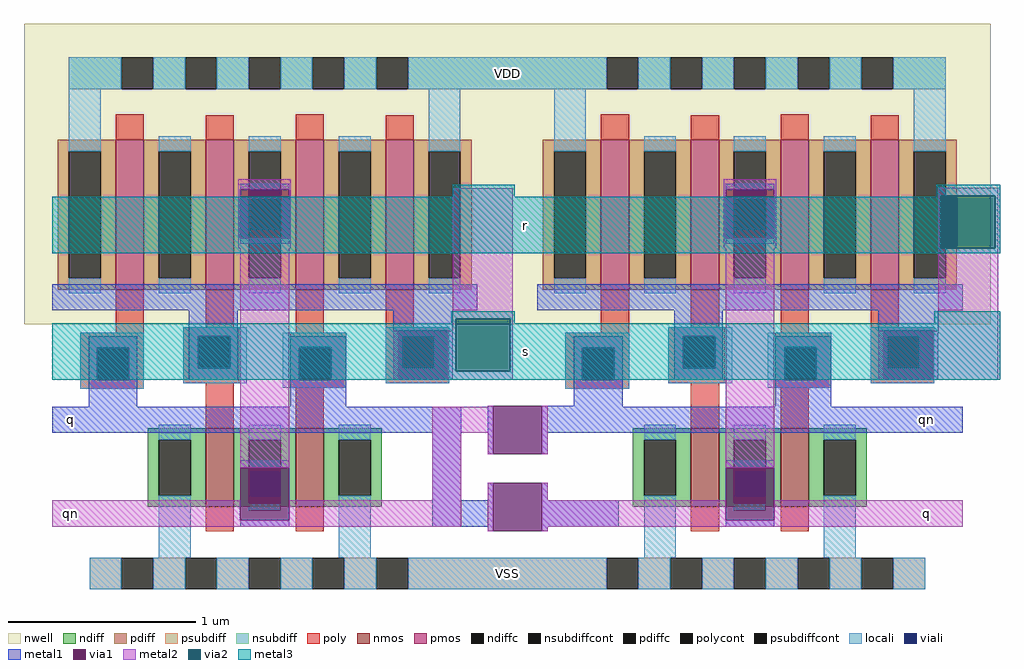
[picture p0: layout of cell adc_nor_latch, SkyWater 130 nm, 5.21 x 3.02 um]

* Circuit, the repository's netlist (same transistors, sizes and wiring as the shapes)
** sch_path: /foss/designs/SKY130_SAR-ADC/xschem/adc_nor_latch.sch
.subckt adc_nor_latch VDD VSS s r q qn
*.PININFO VDD:B VSS:B s:I r:I q:O qn:O
x1 q s VDD qn VSS adc_nor
x2 qn r VDD q VSS adc_nor
.ends

* expanding   symbol:  adc_nor.sym # of pins=5
** sym_path: /foss/designs/SKY130_SAR-ADC/xschem/adc_nor.sym
** sch_path: /foss/designs/SKY130_SAR-ADC/xschem/adc_nor.sch
.subckt adc_nor b a VDD q VSS
*.PININFO VDD:B VSS:B b:I a:I q:O
XM5 q b VSS VSS sky130_fd_pr__nfet_01v8 L=0.15 W=0.42 nf=1 ad='int((nf+1)/2) * W/nf * 0.29' as='int((nf+2)/2) * W/nf * 0.29'
+ pd='2*int((nf+1)/2) * (W/nf + 0.29)' ps='2*int((nf+2)/2) * (W/nf + 0.29)' nrd='0.29 / W' nrs='0.29 / W'
+ sa=0 sb=0 sd=0 mult=1 m=1
XM6 q a VSS VSS sky130_fd_pr__nfet_01v8 L=0.15 W=0.42 nf=1 ad='int((nf+1)/2) * W/nf * 0.29' as='int((nf+2)/2) * W/nf * 0.29'
+ pd='2*int((nf+1)/2) * (W/nf + 0.29)' ps='2*int((nf+2)/2) * (W/nf + 0.29)' nrd='0.29 / W' nrs='0.29 / W'
+ sa=0 sb=0 sd=0 mult=1 m=1
XM1 q b net1 VDD sky130_fd_pr__pfet_01v8 L=0.15 W=0.8 nf=1 ad='int((nf+1)/2) * W/nf * 0.29' as='int((nf+2)/2) * W/nf * 0.29'
+ pd='2*int((nf+1)/2) * (W/nf + 0.29)' ps='2*int((nf+2)/2) * (W/nf + 0.29)' nrd='0.29 / W' nrs='0.29 / W'
+ sa=0 sb=0 sd=0 mult=1 m=1
XM2 q a net2 VDD sky130_fd_pr__pfet_01v8 L=0.15 W=0.8 nf=1 ad='int((nf+1)/2) * W/nf * 0.29' as='int((nf+2)/2) * W/nf * 0.29'
+ pd='2*int((nf+1)/2) * (W/nf + 0.29)' ps='2*int((nf+2)/2) * (W/nf + 0.29)' nrd='0.29 / W' nrs='0.29 / W'
+ sa=0 sb=0 sd=0 mult=1 m=1
XM3 net2 b VDD VDD sky130_fd_pr__pfet_01v8 L=0.15 W=0.8 nf=1 ad='int((nf+1)/2) * W/nf * 0.29' as='int((nf+2)/2) * W/nf * 0.29'
+ pd='2*int((nf+1)/2) * (W/nf + 0.29)' ps='2*int((nf+2)/2) * (W/nf + 0.29)' nrd='0.29 / W' nrs='0.29 / W'
+ sa=0 sb=0 sd=0 mult=1 m=1
XM4 net1 a VDD VDD sky130_fd_pr__pfet_01v8 L=0.15 W=0.8 nf=1 ad='int((nf+1)/2) * W/nf * 0.29' as='int((nf+2)/2) * W/nf * 0.29'
+ pd='2*int((nf+1)/2) * (W/nf + 0.29)' ps='2*int((nf+2)/2) * (W/nf + 0.29)' nrd='0.29 / W' nrs='0.29 / W'
+ sa=0 sb=0 sd=0 mult=1 m=1
.ends

.end

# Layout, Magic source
magic
tech sky130A
magscale 1 2
<< nwell >>
rect 160 493 1192 814
<< nmos >>
rect 354 298 384 382
rect 450 298 480 382
rect 872 298 902 382
rect 968 298 998 382
<< pmos >>
rect 258 530 288 690
rect 354 530 384 690
rect 450 530 480 690
rect 546 530 576 690
rect 776 530 806 690
rect 872 530 902 690
rect 968 530 998 690
rect 1064 530 1094 690
<< ndiff >>
rect 292 370 354 382
rect 292 310 304 370
rect 338 310 354 370
rect 292 298 354 310
rect 384 370 450 382
rect 384 310 400 370
rect 434 310 450 370
rect 384 298 450 310
rect 480 370 542 382
rect 480 310 496 370
rect 530 310 542 370
rect 480 298 542 310
rect 810 370 872 382
rect 810 310 822 370
rect 856 310 872 370
rect 810 298 872 310
rect 902 370 968 382
rect 902 310 918 370
rect 952 310 968 370
rect 902 298 968 310
rect 998 370 1060 382
rect 998 310 1014 370
rect 1048 310 1060 370
rect 998 298 1060 310
<< pdiff >>
rect 196 678 258 690
rect 196 542 208 678
rect 242 542 258 678
rect 196 530 258 542
rect 288 678 354 690
rect 288 542 304 678
rect 338 542 354 678
rect 288 530 354 542
rect 384 678 450 690
rect 384 542 400 678
rect 434 542 450 678
rect 384 530 450 542
rect 480 678 546 690
rect 480 542 496 678
rect 530 542 546 678
rect 480 530 546 542
rect 576 678 638 690
rect 576 542 592 678
rect 626 542 638 678
rect 576 530 638 542
rect 714 678 776 690
rect 714 542 726 678
rect 760 542 776 678
rect 714 530 776 542
rect 806 678 872 690
rect 806 542 822 678
rect 856 542 872 678
rect 806 530 872 542
rect 902 678 968 690
rect 902 542 918 678
rect 952 542 968 678
rect 902 530 968 542
rect 998 678 1064 690
rect 998 542 1014 678
rect 1048 542 1064 678
rect 998 530 1064 542
rect 1094 678 1156 690
rect 1094 542 1110 678
rect 1144 542 1156 678
rect 1094 530 1156 542
<< ndiffc >>
rect 304 310 338 370
rect 400 310 434 370
rect 496 310 530 370
rect 822 310 856 370
rect 918 310 952 370
rect 1014 310 1048 370
<< pdiffc >>
rect 208 542 242 678
rect 304 542 338 678
rect 400 542 434 678
rect 496 542 530 678
rect 592 542 626 678
rect 726 542 760 678
rect 822 542 856 678
rect 918 542 952 678
rect 1014 542 1048 678
rect 1110 542 1144 678
<< psubdiff >>
rect 230 210 264 244
rect 298 210 332 244
rect 366 210 400 244
rect 434 210 468 244
rect 502 210 536 244
rect 570 210 782 244
rect 816 210 850 244
rect 884 210 918 244
rect 952 210 986 244
rect 1020 210 1054 244
rect 1088 210 1122 244
<< nsubdiff >>
rect 208 744 264 778
rect 298 744 332 778
rect 366 744 400 778
rect 434 744 468 778
rect 502 744 536 778
rect 570 744 782 778
rect 816 744 850 778
rect 884 744 918 778
rect 952 744 986 778
rect 1020 744 1054 778
rect 1088 744 1144 778
<< psubdiffcont >>
rect 264 210 298 244
rect 332 210 366 244
rect 400 210 434 244
rect 468 210 502 244
rect 536 210 570 244
rect 782 210 816 244
rect 850 210 884 244
rect 918 210 952 244
rect 986 210 1020 244
rect 1054 210 1088 244
<< nsubdiffcont >>
rect 264 744 298 778
rect 332 744 366 778
rect 400 744 434 778
rect 468 744 502 778
rect 536 744 570 778
rect 782 744 816 778
rect 850 744 884 778
rect 918 744 952 778
rect 986 744 1020 778
rect 1054 744 1088 778
<< poly >>
rect 258 690 288 717
rect 354 690 384 716
rect 450 690 480 717
rect 546 690 576 716
rect 776 690 806 717
rect 872 690 902 716
rect 968 690 998 717
rect 1064 690 1094 716
rect 258 484 288 530
rect 354 490 384 530
rect 220 468 288 484
rect 220 434 238 468
rect 272 434 288 468
rect 220 424 288 434
rect 330 480 390 490
rect 450 484 480 530
rect 546 490 576 530
rect 330 446 346 480
rect 380 446 390 480
rect 330 430 390 446
rect 444 469 504 484
rect 444 435 454 469
rect 488 435 504 469
rect 354 382 384 430
rect 444 425 504 435
rect 546 480 614 490
rect 776 484 806 530
rect 872 490 902 530
rect 546 446 564 480
rect 598 446 614 480
rect 546 430 614 446
rect 738 468 806 484
rect 738 434 756 468
rect 790 434 806 468
rect 450 382 480 425
rect 738 424 806 434
rect 848 480 908 490
rect 968 484 998 530
rect 1064 490 1094 530
rect 848 446 864 480
rect 898 446 908 480
rect 848 430 908 446
rect 962 469 1022 484
rect 962 435 972 469
rect 1006 435 1022 469
rect 872 382 902 430
rect 962 425 1022 435
rect 1064 480 1132 490
rect 1064 446 1082 480
rect 1116 446 1132 480
rect 1064 430 1132 446
rect 968 382 998 425
rect 354 272 384 298
rect 450 272 480 298
rect 872 272 902 298
rect 968 272 998 298
<< polycont >>
rect 238 434 272 468
rect 346 446 380 480
rect 454 435 488 469
rect 564 446 598 480
rect 756 434 790 468
rect 864 446 898 480
rect 972 435 1006 469
rect 1082 446 1116 480
<< locali >>
rect 208 744 264 778
rect 298 744 332 778
rect 366 744 400 778
rect 434 744 468 778
rect 502 744 536 778
rect 570 744 782 778
rect 816 744 850 778
rect 884 744 918 778
rect 952 744 986 778
rect 1020 744 1054 778
rect 1088 744 1144 778
rect 208 678 242 744
rect 208 526 242 542
rect 304 678 338 694
rect 304 526 338 542
rect 400 678 434 694
rect 400 526 434 542
rect 496 678 530 694
rect 496 526 530 542
rect 592 678 626 744
rect 592 526 626 542
rect 726 678 760 744
rect 726 526 760 542
rect 822 678 856 694
rect 822 526 856 542
rect 918 678 952 694
rect 918 526 952 542
rect 1014 678 1048 694
rect 1014 526 1048 542
rect 1110 678 1144 744
rect 1110 526 1144 542
rect 220 468 288 484
rect 220 434 238 468
rect 272 434 288 468
rect 220 424 288 434
rect 330 480 398 490
rect 330 446 346 480
rect 380 446 398 480
rect 330 430 398 446
rect 436 469 504 484
rect 436 434 454 469
rect 488 434 504 469
rect 436 425 504 434
rect 546 480 614 490
rect 546 446 564 480
rect 598 446 614 480
rect 546 430 614 446
rect 738 468 806 484
rect 738 434 756 468
rect 790 434 806 468
rect 738 424 806 434
rect 848 480 916 490
rect 848 446 864 480
rect 898 446 916 480
rect 848 430 916 446
rect 954 469 1022 484
rect 954 434 972 469
rect 1006 434 1022 469
rect 954 425 1022 434
rect 1064 480 1132 490
rect 1064 446 1082 480
rect 1116 446 1132 480
rect 1064 430 1132 446
rect 304 370 338 386
rect 304 244 338 310
rect 400 370 434 386
rect 400 294 434 302
rect 496 370 530 386
rect 496 244 530 310
rect 822 370 856 386
rect 822 244 856 310
rect 918 370 952 386
rect 918 294 952 302
rect 1014 370 1048 386
rect 1014 244 1048 310
rect 230 210 264 244
rect 298 210 332 244
rect 366 210 400 244
rect 434 210 468 244
rect 502 210 536 244
rect 570 210 782 244
rect 816 210 850 244
rect 884 210 918 244
rect 952 210 986 244
rect 1020 210 1054 244
rect 1088 210 1122 244
<< viali >>
rect 400 594 434 628
rect 918 594 952 628
rect 238 434 272 468
rect 346 446 380 480
rect 454 435 488 468
rect 454 434 488 435
rect 564 446 598 480
rect 756 434 790 468
rect 864 446 898 480
rect 972 435 1006 468
rect 972 434 1006 435
rect 1082 446 1116 480
rect 400 310 434 336
rect 400 302 434 310
rect 918 310 952 336
rect 918 302 952 310
<< metal1 >>
rect 391 637 443 643
rect 391 579 443 585
rect 909 637 961 643
rect 909 579 961 585
rect 190 508 644 536
rect 708 508 1162 536
rect 336 480 388 508
rect 554 486 618 508
rect 229 468 281 480
rect 229 434 238 468
rect 272 434 281 468
rect 336 446 346 480
rect 380 446 388 480
rect 336 434 388 446
rect 444 468 504 480
rect 444 434 454 468
rect 488 434 504 468
rect 554 434 560 486
rect 612 434 618 486
rect 854 480 906 508
rect 1072 486 1136 508
rect 747 468 799 480
rect 747 434 756 468
rect 790 434 799 468
rect 854 446 864 480
rect 898 446 906 480
rect 854 434 906 446
rect 962 468 1022 480
rect 962 434 972 468
rect 1006 434 1022 468
rect 1072 434 1078 486
rect 1130 434 1136 486
rect 229 405 281 434
rect 444 405 504 434
rect 747 406 799 434
rect 190 377 627 405
rect 391 340 443 348
rect 391 277 443 284
rect 596 305 627 377
rect 655 354 661 406
rect 713 405 799 406
rect 962 405 1022 434
rect 713 377 1162 405
rect 713 354 719 377
rect 909 340 961 348
rect 655 305 661 324
rect 596 277 661 305
rect 655 272 661 277
rect 713 305 719 324
rect 713 277 795 305
rect 909 277 961 284
rect 713 272 719 277
<< via1 >>
rect 391 628 443 637
rect 391 594 400 628
rect 400 594 434 628
rect 434 594 443 628
rect 391 585 443 594
rect 909 628 961 637
rect 909 594 918 628
rect 918 594 952 628
rect 952 594 961 628
rect 909 585 961 594
rect 560 480 612 486
rect 560 446 564 480
rect 564 446 598 480
rect 598 446 612 480
rect 560 434 612 446
rect 1078 480 1130 486
rect 1078 446 1082 480
rect 1082 446 1116 480
rect 1116 446 1130 480
rect 1078 434 1130 446
rect 391 336 443 340
rect 391 302 400 336
rect 400 302 434 336
rect 434 302 443 336
rect 391 284 443 302
rect 661 354 713 406
rect 909 336 961 340
rect 661 272 713 324
rect 909 302 918 336
rect 918 302 952 336
rect 952 302 961 336
rect 909 284 961 302
<< metal2 >>
rect 389 637 445 648
rect 389 585 391 637
rect 443 585 445 637
rect 389 574 445 585
rect 391 340 443 574
rect 618 499 682 638
rect 907 637 963 648
rect 907 585 909 637
rect 961 585 963 637
rect 907 574 963 585
rect 1136 630 1200 639
rect 1136 574 1139 630
rect 1197 574 1200 630
rect 618 486 621 499
rect 554 434 560 486
rect 612 443 621 486
rect 679 443 682 499
rect 612 434 682 443
rect 655 405 661 406
rect 190 284 391 305
rect 596 377 661 405
rect 596 305 627 377
rect 655 354 661 377
rect 713 354 719 406
rect 909 340 961 574
rect 1136 486 1200 574
rect 1072 434 1078 486
rect 1130 434 1200 486
rect 443 284 627 305
rect 190 277 627 284
rect 655 272 661 324
rect 713 305 719 324
rect 713 284 909 305
rect 961 284 1162 305
rect 713 277 1162 284
rect 713 272 719 277
<< via2 >>
rect 1139 574 1197 630
rect 621 443 679 499
<< metal3 >>
rect 618 629 684 642
rect 1134 630 1202 642
rect 1134 629 1139 630
rect 190 574 1139 629
rect 1197 574 1202 630
rect 190 569 1202 574
rect 616 499 684 507
rect 616 494 621 499
rect 190 443 621 494
rect 679 494 684 499
rect 1132 494 1202 507
rect 679 443 1202 494
rect 190 434 1202 443
<< labels >>
flabel metal2 1086 277 1162 305 0 FreeSans 160 0 0 0 q
port 2 nsew
flabel metal1 1086 377 1162 405 0 FreeSans 160 0 0 0 qn
port 4 nsew
flabel metal3 190 434 1200 494 0 FreeSans 160 0 0 0 s
port 6 nsew
flabel metal3 190 569 1200 629 0 FreeSans 160 0 0 0 r
port 7 nsew
flabel locali 208 744 1144 778 0 FreeSans 160 0 0 0 VDD
port 8 nsew
flabel locali 230 210 1122 244 0 FreeSans 160 0 0 0 VSS
port 9 nsew
flabel metal1 190 377 229 405 0 FreeSans 160 0 0 0 q
port 10 nsew
flabel metal2 190 277 229 305 0 FreeSans 160 0 0 0 qn
port 11 nsew
<< end >>
